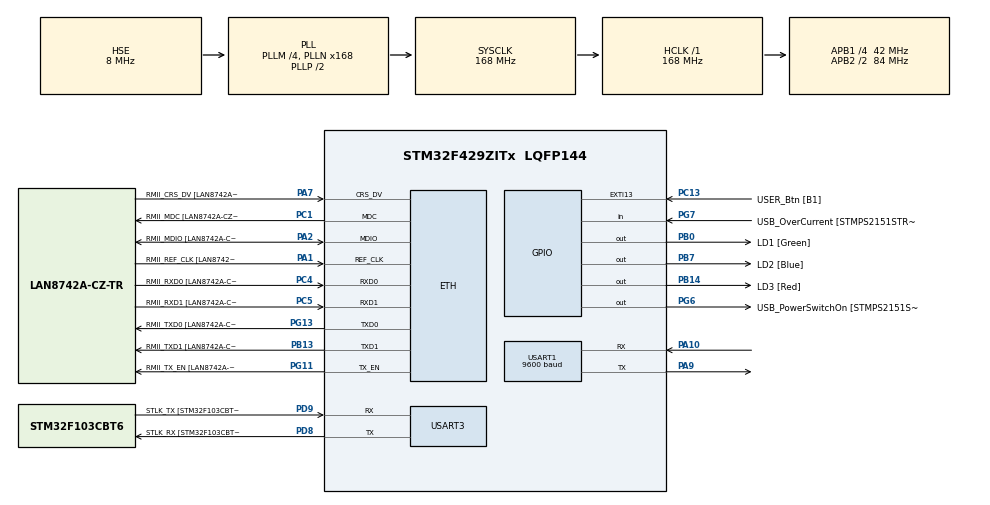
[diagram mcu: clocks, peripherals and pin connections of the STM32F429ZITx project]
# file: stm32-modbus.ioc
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Dma.Request0=USART1_TX
Dma.Request1=USART1_RX
Dma.USART1_RX.1.Direction=DMA_PERIPH_TO_MEMORY
Dma.USART1_RX.1.FIFOMode=DMA_FIFOMODE_DISABLE
Dma.USART1_RX.1.Instance=DMA2_Stream2
Dma.USART1_RX.1.MemDataAlignment=DMA_MDATAALIGN_BYTE
Dma.USART1_RX.1.MemInc=DMA_MINC_ENABLE
Dma.USART1_RX.1.Mode=DMA_NORMAL
Dma.USART1_RX.1.PeriphDataAlignment=DMA_PDATAALIGN_BYTE
Dma.USART1_RX.1.PeriphInc=DMA_PINC_DISABLE
Dma.USART1_RX.1.Priority=DMA_PRIORITY_LOW
Dma.USART1_TX.0.Direction=DMA_MEMORY_TO_PERIPH
Dma.USART1_TX.0.FIFOMode=DMA_FIFOMODE_DISABLE
Dma.USART1_TX.0.Instance=DMA2_Stream7
Dma.USART1_TX.0.MemDataAlignment=DMA_MDATAALIGN_BYTE
Dma.USART1_TX.0.MemInc=DMA_MINC_ENABLE
Dma.USART1_TX.0.Mode=DMA_NORMAL
Dma.USART1_TX.0.PeriphDataAlignment=DMA_PDATAALIGN_BYTE
Dma.USART1_TX.0.PeriphInc=DMA_PINC_DISABLE
Dma.USART1_TX.0.Priority=DMA_PRIORITY_LOW
ETH.MediaInterface=HAL_ETH_RMII_MODE
ETH.PHY_Name=LAN8742A_PHY_ADDRESS
ETH.PHY_Value=0
ETH.PhyAddress=0
FREERTOS.Tasks01=defaultTask,24,128,StartDefaultTask,Default,NULL,Dynamic,NULL,NULL
FREERTOS.configUSE_NEWLIB_REENTRANT=1
Mcu.Family=STM32F4
Mcu.Name=STM32F429ZITx
Mcu.Package=LQFP144
NVIC.DMA2_Stream2_IRQn=true\:5\:0\:false\:false\:true\:true\:false\:true\:true
NVIC.DMA2_Stream7_IRQn=true\:5\:0\:false\:false\:true\:true\:false\:true\:true
NVIC.PriorityGroup=NVIC_PRIORITYGROUP_4
NVIC.TIM1_UP_TIM10_IRQn=true\:15\:0\:false\:false\:true\:false\:false\:true\:true
NVIC.TimeBase=TIM1_UP_TIM10_IRQn
NVIC.TimeBaseIP=TIM1
NVIC.USART1_IRQn=true\:5\:0\:false\:false\:true\:true\:true\:true\:true
PA1.GPIO_Label=RMII_REF_CLK [LAN8742A-CZ-TR_REFCLK0]
PA1.Mode=RMII
PA1.Signal=ETH_REF_CLK
PA10.Mode=Asynchronous
PA10.Signal=USART1_RX
PA13.GPIO_Label=TMS
PA13.Mode=Serial_Wire
PA13.Signal=SYS_JTMS-SWDIO
PA14.GPIO_Label=TCK
PA14.Mode=Serial_Wire
PA14.Signal=SYS_JTCK-SWCLK
PA2.GPIO_Label=RMII_MDIO [LAN8742A-CZ-TR_MDIO]
PA2.Mode=RMII
PA2.Signal=ETH_MDIO
PA7.GPIO_Label=RMII_CRS_DV [LAN8742A-CZ-TR_CRS_DV]
PA7.Mode=RMII
PA7.Signal=ETH_CRS_DV
PA9.Mode=Asynchronous
PA9.Signal=USART1_TX
PB0.GPIO_Label=LD1 [Green]
PB0.Signal=GPIO_Output
PB13.GPIO_Label=RMII_TXD1 [LAN8742A-CZ-TR_TXD1]
PB13.Mode=RMII
PB13.Signal=ETH_TXD1
PB14.GPIO_Label=LD3 [Red]
PB14.Signal=GPIO_Output
PB7.GPIO_Label=LD2 [Blue]
PB7.Signal=GPIO_Output
PC1.GPIO_Label=RMII_MDC [LAN8742A-CZ-TR_MDC]
PC1.Mode=RMII
PC1.Signal=ETH_MDC
PC13.GPIO_Label=USER_Btn [B1]
PC13.Signal=GPXTI13
PC14/OSC32_IN.Mode=LSE-External-Oscillator
PC14/OSC32_IN.Signal=RCC_OSC32_IN
PC15/OSC32_OUT.Mode=LSE-External-Oscillator
PC15/OSC32_OUT.Signal=RCC_OSC32_OUT
PC4.GPIO_Label=RMII_RXD0 [LAN8742A-CZ-TR_RXD0]
PC4.Mode=RMII
PC4.Signal=ETH_RXD0
PC5.GPIO_Label=RMII_RXD1 [LAN8742A-CZ-TR_RXD1]
PC5.Mode=RMII
PC5.Signal=ETH_RXD1
PD8.GPIO_Label=STLK_RX [STM32F103CBT6_PA3]
PD8.Mode=Asynchronous
PD8.Signal=USART3_TX
PD9.GPIO_Label=STLK_TX [STM32F103CBT6_PA2]
PD9.Mode=Asynchronous
PD9.Signal=USART3_RX
PG11.GPIO_Label=RMII_TX_EN [LAN8742A-CZ-TR_TXEN]
PG11.Mode=RMII
PG11.Signal=ETH_TX_EN
PG13.GPIO_Label=RMII_TXD0 [LAN8742A-CZ-TR_TXD0]
PG13.Mode=RMII
PG13.Signal=ETH_TXD0
PG6.GPIO_Label=USB_PowerSwitchOn [STMPS2151STR_EN]
PG6.Signal=GPIO_Output
PG7.GPIO_Label=USB_OverCurrent [STMPS2151STR_FAULT]
PG7.Signal=GPIO_Input
PH0/OSC_IN.GPIO_Label=MCO [STM32F103CBT6_PA8]
PH0/OSC_IN.Mode=HSE-External-Clock-Source
PH0/OSC_IN.Signal=RCC_OSC_IN
PH1/OSC_OUT.Mode=HSE-External-Clock-Source
PH1/OSC_OUT.Signal=RCC_OSC_OUT
ProjectManager.HeapSize=0x200
ProjectManager.StackSize=0x400
ProjectManager.TargetToolchain=STM32CubeIDE
RCC.48MHZClocksFreq_Value=48000000
RCC.AHBFreq_Value=168000000
RCC.APB1CLKDivider=RCC_HCLK_DIV4
RCC.APB1Freq_Value=42000000
RCC.APB1TimFreq_Value=84000000
RCC.APB2CLKDivider=RCC_HCLK_DIV2
RCC.APB2Freq_Value=84000000
RCC.APB2TimCLKDivider=2
RCC.APB2TimFreq_Value=168000000
RCC.CortexFreq_Value=168000000
RCC.HCLKFreq_Value=168000000
RCC.HSE_VALUE=8000000
RCC.HSI_VALUE=16000000
RCC.PLLM=4
RCC.PLLMUL=RCC_PLL_MUL9
RCC.PLLN=168
RCC.PLLQ=7
RCC.PLLSourceVirtual=RCC_PLLSOURCE_HSE
RCC.PRESCALERUSB=RCC_USBCLKSOURCE_PLL_DIV1_5
RCC.SYSCLKFreq_VALUE=168000000
RCC.SYSCLKSource=RCC_SYSCLKSOURCE_PLLCLK
RCC.SYSCLKSourceVirtual=RCC_SYSCLKSOURCE_PLLCLK
RCC.USBFreq_Value=48000000
RCC.VCOOutputFreq_Value=336000000
USART1.BaudRate=9600
USART1.VirtualMode=VM_ASYNC
USART3.VirtualMode=VM_ASYNC
VP_FREERTOS_VS_CMSIS_V2.Mode=CMSIS_V2
VP_SYS_VS_tim1.Mode=TIM1
board=NUCLEO-F429ZI

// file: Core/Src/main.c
/* USER CODE BEGIN Header */
/**
 ******************************************************************************
 * @file           : main.c
 * @brief          : Main program body
 ******************************************************************************
 * @attention
 *
 * Copyright (c) 2023 STMicroelectronics.
 * All rights reserved.
 *
 * This software is licensed under terms that can be found in the LICENSE file
 * in the root directory of this software component.
 * If no LICENSE file comes with this software, it is provided AS-IS.
 *
 ******************************************************************************
 */
/* USER CODE END Header */
#include "main.h"
#include "cmsis_os.h"
#include "string.h"

/* USER CODE BEGIN Includes */
#include "Modbus.h"
/* USER CODE END Includes */

ETH_TxPacketConfig TxConfig;
ETH_DMADescTypeDef DMARxDscrTab[ETH_RX_DESC_CNT]; /* Ethernet Rx DMA Descriptors */
ETH_DMADescTypeDef DMATxDscrTab[ETH_TX_DESC_CNT]; /* Ethernet Tx DMA Descriptors */

ETH_HandleTypeDef heth;

UART_HandleTypeDef huart1;
UART_HandleTypeDef huart3;
DMA_HandleTypeDef hdma_usart1_tx;
DMA_HandleTypeDef hdma_usart1_rx;

/* Definitions for defaultTask */
osThreadId_t defaultTaskHandle;
const osThreadAttr_t defaultTask_attributes = {
    .name = "defaultTask",
    .stack_size = 128 * 4,
    .priority = (osPriority_t)osPriorityNormal,
};
/* USER CODE BEGIN PV */
modbusHandler_t ModbusHandler;
uint16_t ModbusDATA[128];
/* USER CODE END PV */

void SystemClock_Config(void);
static void MX_GPIO_Init(void);
static void MX_DMA_Init(void);
static void MX_ETH_Init(void);
static void MX_USART1_UART_Init(void);
static void MX_USART3_UART_Init(void);
void StartDefaultTask(void *argument);

int main(void) {

  /* MCU Configuration--------------------------------------------------------*/

  /* Reset of all peripherals, Initializes the Flash interface and the Systick. */
  HAL_Init();

  /* Configure the system clock */
  SystemClock_Config();

  /* Initialize all configured peripherals */
  MX_GPIO_Init();
  MX_DMA_Init();
  MX_ETH_Init();
  MX_USART1_UART_Init();
  MX_USART3_UART_Init();
  /* USER CODE BEGIN 2 */

  ModbusHandler.uModbusType = MB_MASTER;
  ModbusHandler.port = &huart1;
  ModbusHandler.u8id = 0; // For master it must be 0
  ModbusHandler.u16timeOut = 1000;
  ModbusHandler.EN_Port = NULL;
  ModbusHandler.EN_Port = NULL;
  ModbusHandler.EN_Pin = 0;
  ModbusHandler.u16regs = ModbusDATA;
  ModbusHandler.u16regsize = sizeof(ModbusDATA) / sizeof(ModbusDATA[0]);
  ModbusHandler.xTypeHW = USART_HW_DMA;
  ModbusInit(&ModbusHandler);  // Initialize Modbus library
  ModbusStart(&ModbusHandler); // Start capturing traffic on serial Port

  /* USER CODE END 2 */

  /* Init scheduler */
  osKernelInitialize();

  /* Create the thread(s) */
  /* creation of defaultTask */
  defaultTaskHandle = osThreadNew(StartDefaultTask, NULL, &defaultTask_attributes);

  /* Start scheduler */
  osKernelStart();

  /* We should never get here as control is now taken by the scheduler */
  /* Infinite loop */
  while (1) {

  }
}

void SystemClock_Config(void) {
  RCC_OscInitTypeDef RCC_OscInitStruct = {0};
  RCC_ClkInitTypeDef RCC_ClkInitStruct = {0};

  /** Configure the main internal regulator output voltage
   */
  __HAL_RCC_PWR_CLK_ENABLE();
  __HAL_PWR_VOLTAGESCALING_CONFIG(PWR_REGULATOR_VOLTAGE_SCALE1);

  /** Initializes the RCC Oscillators according to the specified parameters
   * in the RCC_OscInitTypeDef structure.
   */
  RCC_OscInitStruct.OscillatorType = RCC_OSCILLATORTYPE_HSE;
  RCC_OscInitStruct.HSEState = RCC_HSE_BYPASS;
  RCC_OscInitStruct.PLL.PLLState = RCC_PLL_ON;
  RCC_OscInitStruct.PLL.PLLSource = RCC_PLLSOURCE_HSE;
  RCC_OscInitStruct.PLL.PLLM = 4;
  RCC_OscInitStruct.PLL.PLLN = 168;
  RCC_OscInitStruct.PLL.PLLP = RCC_PLLP_DIV2;
  RCC_OscInitStruct.PLL.PLLQ = 7;
  if (HAL_RCC_OscConfig(&RCC_OscInitStruct) != HAL_OK) {
    Error_Handler();
  }

  /** Initializes the CPU, AHB and APB buses clocks
   */
  RCC_ClkInitStruct.ClockType = RCC_CLOCKTYPE_HCLK | RCC_CLOCKTYPE_SYSCLK | RCC_CLOCKTYPE_PCLK1 | RCC_CLOCKTYPE_PCLK2;
  RCC_ClkInitStruct.SYSCLKSource = RCC_SYSCLKSOURCE_PLLCLK;
  RCC_ClkInitStruct.AHBCLKDivider = RCC_SYSCLK_DIV1;
  RCC_ClkInitStruct.APB1CLKDivider = RCC_HCLK_DIV4;
  RCC_ClkInitStruct.APB2CLKDivider = RCC_HCLK_DIV2;

  if (HAL_RCC_ClockConfig(&RCC_ClkInitStruct, FLASH_LATENCY_5) != HAL_OK) {
    Error_Handler();
  }
}

static void MX_ETH_Init(void) {

  static uint8_t MACAddr[6];

  heth.Instance = ETH;
  MACAddr[0] = 0x00;
  MACAddr[1] = 0x80;
  MACAddr[2] = 0xE1;
  MACAddr[3] = 0x00;
  MACAddr[4] = 0x00;
  MACAddr[5] = 0x00;
  heth.Init.MACAddr = &MACAddr[0];
  heth.Init.MediaInterface = HAL_ETH_RMII_MODE;
  heth.Init.TxDesc = DMATxDscrTab;
  heth.Init.RxDesc = DMARxDscrTab;
  heth.Init.RxBuffLen = 1524;

  if (HAL_ETH_Init(&heth) != HAL_OK) {
    Error_Handler();
  }

  memset(&TxConfig, 0, sizeof(ETH_TxPacketConfig));
  TxConfig.Attributes = ETH_TX_PACKETS_FEATURES_CSUM | ETH_TX_PACKETS_FEATURES_CRCPAD;
  TxConfig.ChecksumCtrl = ETH_CHECKSUM_IPHDR_PAYLOAD_INSERT_PHDR_CALC;
  TxConfig.CRCPadCtrl = ETH_CRC_PAD_INSERT;
}

static void MX_USART1_UART_Init(void) {

  huart1.Instance = USART1;
  huart1.Init.BaudRate = 9600;
  huart1.Init.WordLength = UART_WORDLENGTH_8B;
  huart1.Init.StopBits = UART_STOPBITS_1;
  huart1.Init.Parity = UART_PARITY_NONE;
  huart1.Init.Mode = UART_MODE_TX_RX;
  huart1.Init.HwFlowCtl = UART_HWCONTROL_NONE;
  huart1.Init.OverSampling = UART_OVERSAMPLING_16;
  if (HAL_UART_Init(&huart1) != HAL_OK) {
    Error_Handler();
  }
}

static void MX_USART3_UART_Init(void) {

  huart3.Instance = USART3;
  huart3.Init.BaudRate = 115200;
  huart3.Init.WordLength = UART_WORDLENGTH_8B;
  huart3.Init.StopBits = UART_STOPBITS_1;
  huart3.Init.Parity = UART_PARITY_NONE;
  huart3.Init.Mode = UART_MODE_TX_RX;
  huart3.Init.HwFlowCtl = UART_HWCONTROL_NONE;
  huart3.Init.OverSampling = UART_OVERSAMPLING_16;
  if (HAL_UART_Init(&huart3) != HAL_OK) {
    Error_Handler();
  }
}

static void MX_DMA_Init(void) {

  /* DMA controller clock enable */
  __HAL_RCC_DMA2_CLK_ENABLE();

  /* DMA interrupt init */
  /* DMA2_Stream2_IRQn interrupt configuration */
  HAL_NVIC_SetPriority(DMA2_Stream2_IRQn, 5, 0);
  HAL_NVIC_EnableIRQ(DMA2_Stream2_IRQn);
  /* DMA2_Stream7_IRQn interrupt configuration */
  HAL_NVIC_SetPriority(DMA2_Stream7_IRQn, 5, 0);
  HAL_NVIC_EnableIRQ(DMA2_Stream7_IRQn);
}

static void MX_GPIO_Init(void) {
  GPIO_InitTypeDef GPIO_InitStruct = {0};

  /* GPIO Ports Clock Enable */
  __HAL_RCC_GPIOC_CLK_ENABLE();
  __HAL_RCC_GPIOH_CLK_ENABLE();
  __HAL_RCC_GPIOA_CLK_ENABLE();
  __HAL_RCC_GPIOB_CLK_ENABLE();
  __HAL_RCC_GPIOD_CLK_ENABLE();
  __HAL_RCC_GPIOG_CLK_ENABLE();

  /*Configure GPIO pin Output Level */
  HAL_GPIO_WritePin(GPIOB, LD1_Pin | LD3_Pin | LD2_Pin, GPIO_PIN_RESET);

  /*Configure GPIO pin Output Level */
  HAL_GPIO_WritePin(USB_PowerSwitchOn_GPIO_Port, USB_PowerSwitchOn_Pin, GPIO_PIN_RESET);

  /*Configure GPIO pin : USER_Btn_Pin */
  GPIO_InitStruct.Pin = USER_Btn_Pin;
  GPIO_InitStruct.Mode = GPIO_MODE_IT_RISING;
  GPIO_InitStruct.Pull = GPIO_NOPULL;
  HAL_GPIO_Init(USER_Btn_GPIO_Port, &GPIO_InitStruct);

  /*Configure GPIO pins : LD1_Pin LD3_Pin LD2_Pin */
  GPIO_InitStruct.Pin = LD1_Pin | LD3_Pin | LD2_Pin;
  GPIO_InitStruct.Mode = GPIO_MODE_OUTPUT_PP;
  GPIO_InitStruct.Pull = GPIO_NOPULL;
  GPIO_InitStruct.Speed = GPIO_SPEED_FREQ_LOW;
  HAL_GPIO_Init(GPIOB, &GPIO_InitStruct);

  /*Configure GPIO pin : USB_PowerSwitchOn_Pin */
  GPIO_InitStruct.Pin = USB_PowerSwitchOn_Pin;
  GPIO_InitStruct.Mode = GPIO_MODE_OUTPUT_PP;
  GPIO_InitStruct.Pull = GPIO_NOPULL;
  GPIO_InitStruct.Speed = GPIO_SPEED_FREQ_LOW;
  HAL_GPIO_Init(USB_PowerSwitchOn_GPIO_Port, &GPIO_InitStruct);

  /*Configure GPIO pin : USB_OverCurrent_Pin */
  GPIO_InitStruct.Pin = USB_OverCurrent_Pin;
  GPIO_InitStruct.Mode = GPIO_MODE_INPUT;
  GPIO_InitStruct.Pull = GPIO_NOPULL;
  HAL_GPIO_Init(USB_OverCurrent_GPIO_Port, &GPIO_InitStruct);

}

void StartDefaultTask(void *argument) {
  /* USER CODE BEGIN 5 */

  modbus_t query;
  uint32_t u32NotificationValue;

  query.u8id = 1;                     // Slave address
  query.u8fct = MB_FC_READ_REGISTERS; // Function code
  query.u16RegAdd = 0;                // Start address
  query.u16CoilsNo = 10;              // Number of registers
  query.u16reg = ModbusDATA;          // Pointer to a memory array in the Arduino

  /* Infinite loop */
  for (;;) {
    ModbusQuery(&ModbusHandler, query);                             // Send query (only once)
    u32NotificationValue = ulTaskNotifyTake(pdTRUE, portMAX_DELAY); // block until query finishes

    if (u32NotificationValue != ERR_OK_QUERY) {
      printf("Error: %d\n", u32NotificationValue);
    } else {
      printf("Data: ");
      for (uint8_t i = 0; i < query.u16CoilsNo; i++) {
        printf("%d ", ModbusDATA[i]);
      }
      printf("\n");
    }

    osDelay(100);
  }
  /* USER CODE END 5 */
}

void HAL_TIM_PeriodElapsedCallback(TIM_HandleTypeDef *htim) {
  if (htim->Instance == TIM1) {
    HAL_IncTick();
  }
}

void Error_Handler(void) {
  __disable_irq();
  while (1) {
  }
}
